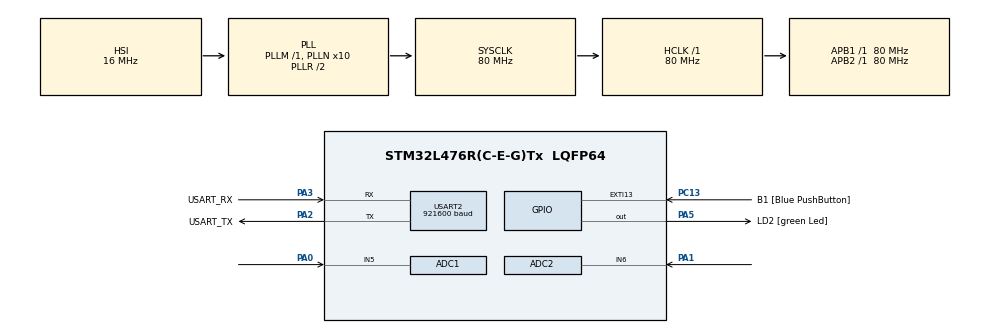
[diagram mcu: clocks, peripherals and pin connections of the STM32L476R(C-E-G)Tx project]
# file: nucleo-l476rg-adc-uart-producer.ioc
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ADC1.Channel-0\#ChannelRegularConversion=ADC_CHANNEL_5
ADC1.ClockPrescaler=ADC_CLOCK_ASYNC_DIV4
ADC1.DMAAccessModeView=ENABLE
ADC1.DMAContinuousRequests=ENABLE
ADC1.ExternalTrigConv=ADC_EXTERNALTRIG_T6_TRGO
ADC1.Mode=ADC_DUALMODE_REGSIMULT
ADC1.NbrOfConversionFlag=1
ADC1.OffsetNumber-0\#ChannelRegularConversion=ADC_OFFSET_NONE
ADC1.Rank-0\#ChannelRegularConversion=1
ADC1.SamplingTime-0\#ChannelRegularConversion=ADC_SAMPLETIME_2CYCLES_5
ADC1.master=1
ADC2.Channel-0\#ChannelRegularConversion=ADC_CHANNEL_6
ADC2.ClockPrescaler=ADC_CLOCK_ASYNC_DIV4
ADC2.DMAAccessModeView=ENABLE
ADC2.Mode=ADC_DUALMODE_REGSIMULT
ADC2.NbrOfConversionFlag=1
ADC2.OffsetNumber-0\#ChannelRegularConversion=ADC_OFFSET_NONE
ADC2.Rank-0\#ChannelRegularConversion=1
ADC2.SamplingTime-0\#ChannelRegularConversion=ADC_SAMPLETIME_2CYCLES_5
Dma.ADC1.0.Direction=DMA_PERIPH_TO_MEMORY
Dma.ADC1.0.Instance=DMA1_Channel1
Dma.ADC1.0.MemDataAlignment=DMA_MDATAALIGN_WORD
Dma.ADC1.0.MemInc=DMA_MINC_ENABLE
Dma.ADC1.0.Mode=DMA_CIRCULAR
Dma.ADC1.0.PeriphDataAlignment=DMA_PDATAALIGN_WORD
Dma.ADC1.0.PeriphInc=DMA_PINC_DISABLE
Dma.ADC1.0.Priority=DMA_PRIORITY_HIGH
Dma.Request0=ADC1
Dma.Request1=USART2_TX
Dma.USART2_TX.1.Direction=DMA_MEMORY_TO_PERIPH
Dma.USART2_TX.1.Instance=DMA1_Channel7
Dma.USART2_TX.1.MemDataAlignment=DMA_MDATAALIGN_BYTE
Dma.USART2_TX.1.MemInc=DMA_MINC_ENABLE
Dma.USART2_TX.1.Mode=DMA_NORMAL
Dma.USART2_TX.1.PeriphDataAlignment=DMA_PDATAALIGN_BYTE
Dma.USART2_TX.1.PeriphInc=DMA_PINC_DISABLE
Dma.USART2_TX.1.Priority=DMA_PRIORITY_MEDIUM
Mcu.Family=STM32L4
Mcu.Name=STM32L476R(C-E-G)Tx
Mcu.Package=LQFP64
NVIC.DMA1_Channel1_IRQn=true\:0\:0\:false\:false\:true\:false\:true\:true
NVIC.DMA1_Channel7_IRQn=true\:0\:0\:false\:false\:true\:false\:true\:true
NVIC.PriorityGroup=NVIC_PRIORITYGROUP_4
PA0.Signal=ADCx_IN5
PA1.Signal=ADCx_IN6
PA13\ (JTMS-SWDIO).GPIO_Label=TMS
PA13\ (JTMS-SWDIO).Mode=Serial_Wire
PA13\ (JTMS-SWDIO).Signal=SYS_JTMS-SWDIO
PA14\ (JTCK-SWCLK).GPIO_Label=TCK
PA14\ (JTCK-SWCLK).Mode=Serial_Wire
PA14\ (JTCK-SWCLK).Signal=SYS_JTCK-SWCLK
PA2.GPIO_Label=USART_TX
PA2.GPIO_Mode=GPIO_MODE_AF_PP
PA2.GPIO_PuPd=GPIO_NOPULL
PA2.GPIO_Speed=GPIO_SPEED_FREQ_VERY_HIGH
PA2.Mode=Asynchronous
PA2.Signal=USART2_TX
PA3.GPIO_Label=USART_RX
PA3.GPIO_Mode=GPIO_MODE_AF_PP
PA3.GPIO_PuPd=GPIO_NOPULL
PA3.GPIO_Speed=GPIO_SPEED_FREQ_VERY_HIGH
PA3.Mode=Asynchronous
PA3.Signal=USART2_RX
PA5.GPIO_Label=LD2 [green Led]
PA5.GPIO_ModeDefaultOutputPP=GPIO_MODE_OUTPUT_PP
PA5.GPIO_PuPd=GPIO_NOPULL
PA5.GPIO_Speed=GPIO_SPEED_FREQ_LOW
PA5.Signal=GPIO_Output
PB3\ (JTDO-TRACESWO).GPIO_Label=SWO
PB3\ (JTDO-TRACESWO).Signal=SYS_JTDO-SWO
PC13.GPIO_Label=B1 [Blue PushButton]
PC13.GPIO_ModeDefaultEXTI=GPIO_MODE_IT_FALLING
PC13.GPIO_PuPd=GPIO_NOPULL
PC13.Signal=GPXTI13
PC14-OSC32_IN\ (PC14).Mode=LSE-External-Oscillator
PC14-OSC32_IN\ (PC14).Signal=RCC_OSC32_IN
PC15-OSC32_OUT\ (PC15).Mode=LSE-External-Oscillator
PC15-OSC32_OUT\ (PC15).Signal=RCC_OSC32_OUT
PH0-OSC_IN\ (PH0).Signal=RCC_OSC_IN
PH1-OSC_OUT\ (PH1).Signal=RCC_OSC_OUT
ProjectManager.HeapSize=0x200
ProjectManager.StackSize=0x400
ProjectManager.TargetToolchain=STM32CubeIDE
RCC.ADCFreq_Value=64000000
RCC.AHBFreq_Value=80000000
RCC.APB1Freq_Value=80000000
RCC.APB1TimFreq_Value=80000000
RCC.APB2Freq_Value=80000000
RCC.APB2TimFreq_Value=80000000
RCC.CortexFreq_Value=80000000
RCC.HCLKFreq_Value=80000000
RCC.HSE_VALUE=8000000
RCC.HSI_VALUE=16000000
RCC.MSI_VALUE=4000000
RCC.PLLN=10
RCC.PLLSourceVirtual=RCC_PLLSOURCE_HSI
RCC.PREFETCH_ENABLE=1
RCC.SYSCLKFreq_VALUE=80000000
RCC.SYSCLKSource=RCC_SYSCLKSOURCE_PLLCLK
RCC.USBFreq_Value=64000000
RCC.VCOOutputFreq_Value=160000000
SH.ADCx_IN5.0=ADC1_IN5,IN5-Single-Ended
SH.ADCx_IN6.0=ADC2_IN6,IN6-Single-Ended
TIM6.AutoReloadPreload=TIM_AUTORELOAD_PRELOAD_ENABLE
TIM6.Period=999
TIM6.Prescaler=7
TIM6.TIM_MasterOutputTrigger=TIM_TRGO_UPDATE
USART2.BaudRate=921600
USART2.Mode=MODE_TX
USART2.VirtualMode-Asynchronous=VM_ASYNC
VP_TIM6_VS_ClockSourceINT.Mode=Enable_Timer
board=NUCLEO-L476RG

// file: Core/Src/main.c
/* USER CODE BEGIN Header */
/**
 ******************************************************************************
 * @file           : main.c
 * @brief          : Main program body
 ******************************************************************************
 * @attention
 *
 * Copyright (c) 2025 STMicroelectronics.
 * All rights reserved.
 *
 * This software is licensed under terms that can be found in the LICENSE file
 * in the root directory of this software component.
 * If no LICENSE file comes with this software, it is provided AS-IS.
 *
 ******************************************************************************
 */
/* USER CODE END Header */
#include "main.h"

/* USER CODE BEGIN Includes */
#include <stdio.h>
#include <string.h>
/* USER CODE END Includes */

ADC_HandleTypeDef hadc1;
ADC_HandleTypeDef hadc2;
DMA_HandleTypeDef hdma_adc1;

TIM_HandleTypeDef htim6;

UART_HandleTypeDef huart2;
DMA_HandleTypeDef hdma_usart2_tx;

/* USER CODE BEGIN PV */
#define BUFFER_SIZE 2000      // 200ms at 10kHz (IEC 61000-4-7 compliant)
#define HALF_BUFFER_SIZE 1000 // 100ms per packet

/**
 * UART Packet Structure (4010 bytes total)
 *
 * All fields are uint16_t for natural 2-byte alignment.
 * NO __attribute__((packed)) needed - compiler adds no padding because
 * all fields are same size (uint16_t = 2 bytes).
 *
 * Memory layout is naturally compact:
 * - Each uint16_t at even address (0, 2, 4, 6, ...)
 * - No gaps between fields
 * - Total size: 2+2+2+2000+2000+2+2 = 4010 bytes
 */
typedef struct {
  uint16_t start_marker;                   // 0xFFFF
  uint16_t sequence;                       // Packet counter (0-65535, wraps)
  uint16_t count;                          // Samples per channel (always 1000)
  uint16_t voltage_data[HALF_BUFFER_SIZE]; // ADC1 voltage samples
  uint16_t current_data[HALF_BUFFER_SIZE]; // ADC2 current samples
  uint16_t checksum;                       // CRC16-MODBUS
  uint16_t end_marker;                     // 0xFFFE
} PacketData;

uint32_t adc_buffer[BUFFER_SIZE]; // Dual ADC: [I(31:16)|V(15:0)]
volatile uint8_t buffer_half_ready = 0;
volatile uint8_t uart_tx_busy = 0;

static uint16_t packet_sequence = 0;
/**
 * Packet buffer with 4-byte alignment for DMA compatibility.
 *
 * __attribute__((aligned(4))) ensures struct starts at address
 * that is multiple of 4 (required by STM32 DMA controller).
 *
 * Applied to VARIABLE, not struct type definition, because:
 * - Struct fields are naturally aligned (all uint16_t)
 * - Only need to align the starting address for DMA
 */
static PacketData tx_packet __attribute__((aligned(4)));
/* USER CODE END PV */

void SystemClock_Config(void);
void PeriphCommonClock_Config(void);
static void MX_GPIO_Init(void);
static void MX_DMA_Init(void);
static void MX_USART2_UART_Init(void);
static void MX_ADC1_Init(void);
static void MX_TIM6_Init(void);
static void MX_ADC2_Init(void);

/* USER CODE BEGIN 0 */

void transmit_buffer_uart(uint32_t *data, uint16_t size) {
  if (uart_tx_busy) {
    return;
  }

  tx_packet.start_marker = 0xFFFF;
  tx_packet.sequence = packet_sequence++;
  tx_packet.count = size;

  for (uint16_t i = 0; i < size; i++) {
    tx_packet.voltage_data[i] = (uint16_t)(data[i] & 0xFFFF);
    tx_packet.current_data[i] = (uint16_t)((data[i] >> 16) & 0xFFFF);
  }

  uint8_t *crc_start = (uint8_t *)&tx_packet.sequence;
  uint16_t crc_length = sizeof(tx_packet.sequence) + sizeof(tx_packet.count) +
                        sizeof(tx_packet.voltage_data) +
                        sizeof(tx_packet.current_data);
  uint16_t crc = 0xFFFF;
  for (uint16_t i = 0; i < crc_length; i++) {
    crc ^= crc_start[i];
    for (uint8_t j = 0; j < 8; j++) {
      if (crc & 0x0001) {
        crc = (crc >> 1) ^ 0xA001;
      } else {
        crc = crc >> 1;
      }
    }
  }

  tx_packet.checksum = crc;
  tx_packet.end_marker = 0xFFFE;

  uart_tx_busy = 1;
  __DSB();
  HAL_StatusTypeDef status =
      HAL_UART_Transmit_DMA(&huart2, (uint8_t *)&tx_packet, sizeof(tx_packet));

  if (status != HAL_OK) {
    uart_tx_busy = 0;
    HAL_GPIO_WritePin(LD2_GPIO_Port, LD2_Pin, GPIO_PIN_SET);
  } else {
    HAL_GPIO_TogglePin(LD2_GPIO_Port, LD2_Pin);
  }
}

/* USER CODE END 0 */

int main(void) {

  /* MCU Configuration--------------------------------------------------------*/

  /* Reset of all peripherals, Initializes the Flash interface and the Systick.
   */
  HAL_Init();

  /* Configure the system clock */
  SystemClock_Config();

  /* Configure the peripherals common clocks */
  PeriphCommonClock_Config();

  /* Initialize all configured peripherals */
  MX_GPIO_Init();
  MX_DMA_Init();
  MX_USART2_UART_Init();
  MX_ADC1_Init();
  MX_TIM6_Init();
  MX_ADC2_Init();
  /* USER CODE BEGIN 2 */
  HAL_ADCEx_Calibration_Start(&hadc1, ADC_SINGLE_ENDED);
  HAL_ADCEx_Calibration_Start(&hadc2, ADC_SINGLE_ENDED);

  HAL_TIM_Base_Start(&htim6);

  if (HAL_ADCEx_MultiModeStart_DMA(&hadc1, (uint32_t *)adc_buffer,
                                   BUFFER_SIZE) != HAL_OK) {
    Error_Handler();
  }

  /* USER CODE END 2 */

  /* Infinite loop */
  while (1) {

    /* USER CODE BEGIN 3 */
    static uint32_t last_tx_time = 0;
    uint32_t current_time = HAL_GetTick();

    if (uart_tx_busy && huart2.gState == HAL_UART_STATE_READY) {
      uart_tx_busy = 0;
      HAL_GPIO_TogglePin(LD2_GPIO_Port, LD2_Pin);
    }

    if (uart_tx_busy && (current_time - last_tx_time > 150)) {
      uart_tx_busy = 0;
      HAL_UART_Abort(&huart2);
      HAL_GPIO_WritePin(LD2_GPIO_Port, LD2_Pin, GPIO_PIN_SET);
    }

    if (buffer_half_ready == 1 && !uart_tx_busy) {
      transmit_buffer_uart(&adc_buffer[0], HALF_BUFFER_SIZE);
      buffer_half_ready = 0;
      last_tx_time = current_time;
    } else if (buffer_half_ready == 2 && !uart_tx_busy) {
      transmit_buffer_uart(&adc_buffer[HALF_BUFFER_SIZE], HALF_BUFFER_SIZE);
      buffer_half_ready = 0;
      last_tx_time = current_time;
    }
  }
  /* USER CODE END 3 */
}

void SystemClock_Config(void) {
  RCC_OscInitTypeDef RCC_OscInitStruct = {0};
  RCC_ClkInitTypeDef RCC_ClkInitStruct = {0};

  /** Configure the main internal regulator output voltage
   */
  if (HAL_PWREx_ControlVoltageScaling(PWR_REGULATOR_VOLTAGE_SCALE1) != HAL_OK) {
    Error_Handler();
  }

  /** Initializes the RCC Oscillators according to the specified parameters
   * in the RCC_OscInitTypeDef structure.
   */
  RCC_OscInitStruct.OscillatorType = RCC_OSCILLATORTYPE_HSI;
  RCC_OscInitStruct.HSIState = RCC_HSI_ON;
  RCC_OscInitStruct.HSICalibrationValue = RCC_HSICALIBRATION_DEFAULT;
  RCC_OscInitStruct.PLL.PLLState = RCC_PLL_ON;
  RCC_OscInitStruct.PLL.PLLSource = RCC_PLLSOURCE_HSI;
  RCC_OscInitStruct.PLL.PLLM = 1;
  RCC_OscInitStruct.PLL.PLLN = 10;
  RCC_OscInitStruct.PLL.PLLP = RCC_PLLP_DIV7;
  RCC_OscInitStruct.PLL.PLLQ = RCC_PLLQ_DIV2;
  RCC_OscInitStruct.PLL.PLLR = RCC_PLLR_DIV2;
  if (HAL_RCC_OscConfig(&RCC_OscInitStruct) != HAL_OK) {
    Error_Handler();
  }

  /** Initializes the CPU, AHB and APB buses clocks
   */
  RCC_ClkInitStruct.ClockType = RCC_CLOCKTYPE_HCLK | RCC_CLOCKTYPE_SYSCLK |
                                RCC_CLOCKTYPE_PCLK1 | RCC_CLOCKTYPE_PCLK2;
  RCC_ClkInitStruct.SYSCLKSource = RCC_SYSCLKSOURCE_PLLCLK;
  RCC_ClkInitStruct.AHBCLKDivider = RCC_SYSCLK_DIV1;
  RCC_ClkInitStruct.APB1CLKDivider = RCC_HCLK_DIV1;
  RCC_ClkInitStruct.APB2CLKDivider = RCC_HCLK_DIV1;

  if (HAL_RCC_ClockConfig(&RCC_ClkInitStruct, FLASH_LATENCY_4) != HAL_OK) {
    Error_Handler();
  }
}

void PeriphCommonClock_Config(void) {
  RCC_PeriphCLKInitTypeDef PeriphClkInit = {0};

  /** Initializes the peripherals clock
   */
  PeriphClkInit.PeriphClockSelection = RCC_PERIPHCLK_ADC;
  PeriphClkInit.AdcClockSelection = RCC_ADCCLKSOURCE_PLLSAI1;
  PeriphClkInit.PLLSAI1.PLLSAI1Source = RCC_PLLSOURCE_HSI;
  PeriphClkInit.PLLSAI1.PLLSAI1M = 1;
  PeriphClkInit.PLLSAI1.PLLSAI1N = 8;
  PeriphClkInit.PLLSAI1.PLLSAI1P = RCC_PLLP_DIV7;
  PeriphClkInit.PLLSAI1.PLLSAI1Q = RCC_PLLQ_DIV2;
  PeriphClkInit.PLLSAI1.PLLSAI1R = RCC_PLLR_DIV2;
  PeriphClkInit.PLLSAI1.PLLSAI1ClockOut = RCC_PLLSAI1_ADC1CLK;
  if (HAL_RCCEx_PeriphCLKConfig(&PeriphClkInit) != HAL_OK) {
    Error_Handler();
  }
}

static void MX_ADC1_Init(void) {

  ADC_MultiModeTypeDef multimode = {0};
  ADC_ChannelConfTypeDef sConfig = {0};

  /** Common config
   */
  hadc1.Instance = ADC1;
  hadc1.Init.ClockPrescaler = ADC_CLOCK_ASYNC_DIV4;
  hadc1.Init.Resolution = ADC_RESOLUTION_12B;
  hadc1.Init.DataAlign = ADC_DATAALIGN_RIGHT;
  hadc1.Init.ScanConvMode = ADC_SCAN_DISABLE;
  hadc1.Init.EOCSelection = ADC_EOC_SINGLE_CONV;
  hadc1.Init.LowPowerAutoWait = DISABLE;
  hadc1.Init.ContinuousConvMode = DISABLE;
  hadc1.Init.NbrOfConversion = 1;
  hadc1.Init.DiscontinuousConvMode = DISABLE;
  hadc1.Init.ExternalTrigConv = ADC_EXTERNALTRIG_T6_TRGO;
  hadc1.Init.ExternalTrigConvEdge = ADC_EXTERNALTRIGCONVEDGE_RISING;
  hadc1.Init.DMAContinuousRequests = ENABLE;
  hadc1.Init.Overrun = ADC_OVR_DATA_PRESERVED;
  hadc1.Init.OversamplingMode = DISABLE;
  if (HAL_ADC_Init(&hadc1) != HAL_OK) {
    Error_Handler();
  }

  /** Configure the ADC multi-mode
   */
  multimode.Mode = ADC_DUALMODE_REGSIMULT;
  multimode.DMAAccessMode = ADC_DMAACCESSMODE_12_10_BITS;
  multimode.TwoSamplingDelay = ADC_TWOSAMPLINGDELAY_1CYCLE;
  if (HAL_ADCEx_MultiModeConfigChannel(&hadc1, &multimode) != HAL_OK) {
    Error_Handler();
  }

  /** Configure Regular Channel
   */
  sConfig.Channel = ADC_CHANNEL_5;
  sConfig.Rank = ADC_REGULAR_RANK_1;
  sConfig.SamplingTime = ADC_SAMPLETIME_2CYCLES_5;
  sConfig.SingleDiff = ADC_SINGLE_ENDED;
  sConfig.OffsetNumber = ADC_OFFSET_NONE;
  sConfig.Offset = 0;
  if (HAL_ADC_ConfigChannel(&hadc1, &sConfig) != HAL_OK) {
    Error_Handler();
  }
}

static void MX_ADC2_Init(void) {

  ADC_ChannelConfTypeDef sConfig = {0};

  /** Common config
   */
  hadc2.Instance = ADC2;
  hadc2.Init.ClockPrescaler = ADC_CLOCK_ASYNC_DIV4;
  hadc2.Init.Resolution = ADC_RESOLUTION_12B;
  hadc2.Init.DataAlign = ADC_DATAALIGN_RIGHT;
  hadc2.Init.ScanConvMode = ADC_SCAN_DISABLE;
  hadc2.Init.EOCSelection = ADC_EOC_SINGLE_CONV;
  hadc2.Init.LowPowerAutoWait = DISABLE;
  hadc2.Init.ContinuousConvMode = DISABLE;
  hadc2.Init.NbrOfConversion = 1;
  hadc2.Init.DiscontinuousConvMode = DISABLE;
  hadc2.Init.DMAContinuousRequests = DISABLE;
  hadc2.Init.Overrun = ADC_OVR_DATA_PRESERVED;
  hadc2.Init.OversamplingMode = DISABLE;
  if (HAL_ADC_Init(&hadc2) != HAL_OK) {
    Error_Handler();
  }

  /** Configure Regular Channel
   */
  sConfig.Channel = ADC_CHANNEL_6;
  sConfig.Rank = ADC_REGULAR_RANK_1;
  sConfig.SamplingTime = ADC_SAMPLETIME_2CYCLES_5;
  sConfig.SingleDiff = ADC_SINGLE_ENDED;
  sConfig.OffsetNumber = ADC_OFFSET_NONE;
  sConfig.Offset = 0;
  if (HAL_ADC_ConfigChannel(&hadc2, &sConfig) != HAL_OK) {
    Error_Handler();
  }
}

static void MX_TIM6_Init(void) {

  TIM_MasterConfigTypeDef sMasterConfig = {0};

  htim6.Instance = TIM6;
  htim6.Init.Prescaler = 7;
  htim6.Init.CounterMode = TIM_COUNTERMODE_UP;
  htim6.Init.Period = 999;
  htim6.Init.AutoReloadPreload = TIM_AUTORELOAD_PRELOAD_ENABLE;
  if (HAL_TIM_Base_Init(&htim6) != HAL_OK) {
    Error_Handler();
  }
  sMasterConfig.MasterOutputTrigger = TIM_TRGO_UPDATE;
  sMasterConfig.MasterSlaveMode = TIM_MASTERSLAVEMODE_DISABLE;
  if (HAL_TIMEx_MasterConfigSynchronization(&htim6, &sMasterConfig) != HAL_OK) {
    Error_Handler();
  }
}

static void MX_USART2_UART_Init(void) {

  huart2.Instance = USART2;
  huart2.Init.BaudRate = 921600;
  huart2.Init.WordLength = UART_WORDLENGTH_8B;
  huart2.Init.StopBits = UART_STOPBITS_1;
  huart2.Init.Parity = UART_PARITY_NONE;
  huart2.Init.Mode = UART_MODE_TX;
  huart2.Init.HwFlowCtl = UART_HWCONTROL_NONE;
  huart2.Init.OverSampling = UART_OVERSAMPLING_16;
  huart2.Init.OneBitSampling = UART_ONE_BIT_SAMPLE_DISABLE;
  huart2.AdvancedInit.AdvFeatureInit = UART_ADVFEATURE_NO_INIT;
  if (HAL_UART_Init(&huart2) != HAL_OK) {
    Error_Handler();
  }
}

static void MX_DMA_Init(void) {

  /* DMA controller clock enable */
  __HAL_RCC_DMA1_CLK_ENABLE();

  /* DMA interrupt init */
  /* DMA1_Channel1_IRQn interrupt configuration */
  HAL_NVIC_SetPriority(DMA1_Channel1_IRQn, 0, 0);
  HAL_NVIC_EnableIRQ(DMA1_Channel1_IRQn);
  /* DMA1_Channel7_IRQn interrupt configuration */
  HAL_NVIC_SetPriority(DMA1_Channel7_IRQn, 0, 0);
  HAL_NVIC_EnableIRQ(DMA1_Channel7_IRQn);
}

static void MX_GPIO_Init(void) {
  GPIO_InitTypeDef GPIO_InitStruct = {0};

  /* GPIO Ports Clock Enable */
  __HAL_RCC_GPIOC_CLK_ENABLE();
  __HAL_RCC_GPIOH_CLK_ENABLE();
  __HAL_RCC_GPIOA_CLK_ENABLE();
  __HAL_RCC_GPIOB_CLK_ENABLE();

  /*Configure GPIO pin Output Level */
  HAL_GPIO_WritePin(LD2_GPIO_Port, LD2_Pin, GPIO_PIN_RESET);

  /*Configure GPIO pin : B1_Pin */
  GPIO_InitStruct.Pin = B1_Pin;
  GPIO_InitStruct.Mode = GPIO_MODE_IT_FALLING;
  GPIO_InitStruct.Pull = GPIO_NOPULL;
  HAL_GPIO_Init(B1_GPIO_Port, &GPIO_InitStruct);

  /*Configure GPIO pin : LD2_Pin */
  GPIO_InitStruct.Pin = LD2_Pin;
  GPIO_InitStruct.Mode = GPIO_MODE_OUTPUT_PP;
  GPIO_InitStruct.Pull = GPIO_NOPULL;
  GPIO_InitStruct.Speed = GPIO_SPEED_FREQ_LOW;
  HAL_GPIO_Init(LD2_GPIO_Port, &GPIO_InitStruct);

}

/* USER CODE BEGIN 4 */

void HAL_ADC_ConvHalfCpltCallback(ADC_HandleTypeDef *hadc) {
  if (hadc->Instance == ADC1) {
    buffer_half_ready = 1;
  }
}

void HAL_ADC_ConvCpltCallback(ADC_HandleTypeDef *hadc) {
  if (hadc->Instance == ADC1) {
    buffer_half_ready = 2;
  }
}

void HAL_UART_TxCpltCallback(UART_HandleTypeDef *huart) {
  if (huart->Instance == USART2) {
    uart_tx_busy = 0;
  }
}

void HAL_ADC_ErrorCallback(ADC_HandleTypeDef *hadc) {
  if (hadc->Instance == ADC1) {
    HAL_ADCEx_MultiModeStop_DMA(&hadc1);
    HAL_Delay(10);
    HAL_ADCEx_MultiModeStart_DMA(&hadc1, (uint32_t *)adc_buffer, BUFFER_SIZE);
  }
}

/* USER CODE END 4 */

void Error_Handler(void) {
  /* USER CODE BEGIN Error_Handler_Debug */
  /* User can add his own implementation to report the HAL error return state */
  // Blink SOS pattern to indicate error (different from fast blink)
  // SOS = ... --- ... (3 short, 3 long, 3 short)
  while (1) {
    // Three short
    for (int i = 0; i < 3; i++) {
      HAL_GPIO_WritePin(LD2_GPIO_Port, LD2_Pin, GPIO_PIN_SET);
      HAL_Delay(100);
      HAL_GPIO_WritePin(LD2_GPIO_Port, LD2_Pin, GPIO_PIN_RESET);
      HAL_Delay(100);
    }
    HAL_Delay(300);

    // Three long
    for (int i = 0; i < 3; i++) {
      HAL_GPIO_WritePin(LD2_GPIO_Port, LD2_Pin, GPIO_PIN_SET);
      HAL_Delay(300);
      HAL_GPIO_WritePin(LD2_GPIO_Port, LD2_Pin, GPIO_PIN_RESET);
      HAL_Delay(100);
    }
    HAL_Delay(300);

    // Three short
    for (int i = 0; i < 3; i++) {
      HAL_GPIO_WritePin(LD2_GPIO_Port, LD2_Pin, GPIO_PIN_SET);
      HAL_Delay(100);
      HAL_GPIO_WritePin(LD2_GPIO_Port, LD2_Pin, GPIO_PIN_RESET);
      HAL_Delay(100);
    }
    HAL_Delay(1000);
  }
  /* USER CODE END Error_Handler_Debug */
}
#ifdef USE_FULL_ASSERT
/**
 * @brief  Reports the name of the source file and the source line number
 *         where the assert_param error has occurred.
 * @param  file: pointer to the source file name
 * @param  line: assert_param error line source number
 * @retval None
 */
void assert_failed(uint8_t *file, uint32_t line) {
  /* USER CODE BEGIN 6 */
  /* User can add his own implementation to report the file name and line
     number, ex: printf("Wrong parameters value: file %s on line %d\r\n", file,
     line) */
  /* USER CODE END 6 */
}
#endif /* USE_FULL_ASSERT */
